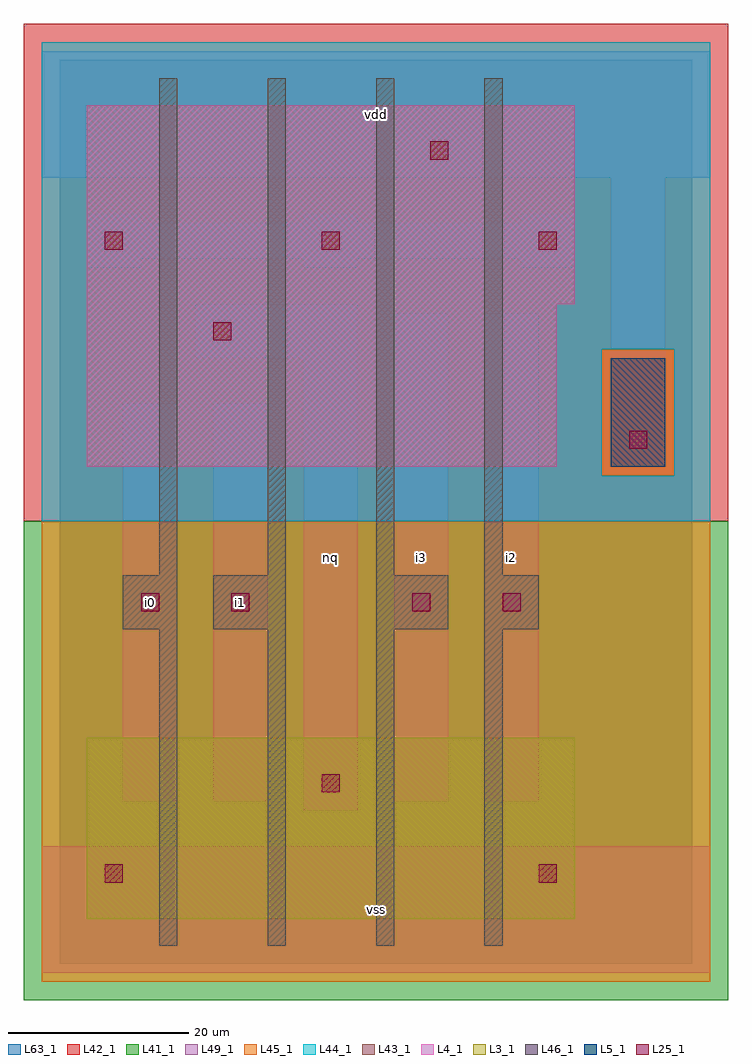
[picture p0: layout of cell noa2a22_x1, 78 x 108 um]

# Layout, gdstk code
import gdstk
lib = gdstk.Library(unit=1e-6, precision=1e-09)
def R(c, l, rs):  # rectangles x0, y0, x1, y1
    for r in rs: c.add(gdstk.rectangle(r[:2], r[2:], *l))
def A(c, l, x, y, w, h, nx, ny, dx, dy):  # array of equal rectangles
    R(c, l, [(x+i*dx, y+j*dy, x+i*dx+w, y+j*dy+h) for i in range(nx) for j in range(ny)])
L3_1 = (3, 1)
L4_1 = (4, 1)
L5_1 = (5, 1)
L25_1 = (25, 1)
L41_1 = (41, 1)
L42_1 = (42, 1)
L43_1 = (43, 1)
L44_1 = (44, 1)
L45_1 = (45, 1)
L46_1 = (46, 1)
L49_1 = (49, 1)
L63_1 = (63, 1)

noa2a22_x1 = lib.new_cell('noa2a22_x1')
R(noa2a22_x1, L3_1, [(3,5,57,25)])
R(noa2a22_x1, L4_1, [(3,55,55,73), (3,73,57,95)])
R(noa2a22_x1, L5_1, [(61,55,67,67)])
A(noa2a22_x1, L25_1, 5, 79, 2, 2, 3, 1, 24, 0)
R(noa2a22_x1, L25_1, [(5,9,7,11), (53,9,55,11), (29,19,31,21), (9,39,11,41), (19,39,21,41), (39,39,41,41), (49,39,51,41), (63,57,65,59), (17,69,19,71), (41,89,43,91)])
R(noa2a22_x1, L41_1, [(-4,-4,74,49)])
R(noa2a22_x1, L42_1, [(-4,49,74,104)])
R(noa2a22_x1, L43_1, [(3,5,57,25), (3,55,55,73), (61,55,67,67), (3,73,57,95)])
R(noa2a22_x1, L44_1, [(-2,49,72,54), (-2,54,60,68), (68,54,72,68), (-2,68,72,102)])
R(noa2a22_x1, L45_1, [(-2,-2,72,49), (60,54,68,68)])
A(noa2a22_x1, L46_1, 11, 2, 2, 35, 4, 1, 12, 0)
A(noa2a22_x1, L46_1, 11, 43, 2, 55, 4, 1, 12, 0)
R(noa2a22_x1, L46_1, [(7,37,13,43), (17,37,25,43), (35,37,43,43), (47,37,53,43)])
A(noa2a22_x1, L49_1, 3, 77, 6, 1, 3, 2, 24, 5)
R(noa2a22_x1, L49_1, [(-2,-1,72,13), (27,17,33,67), (7,18,13,62), (17,18,23,62), (37,18,43,72), (47,18,53,72), (61,55,67,87), (15,67,33,73), (3,78,57,82), (-2,87,72,101)])
R(noa2a22_x1, L63_1, [(0,0,70,100)])
noa2a22_x1.add(gdstk.Label('i0', (10,40), layer=49, texttype=1))
noa2a22_x1.add(gdstk.Label('i0', (10,40), layer=49, texttype=1))
noa2a22_x1.add(gdstk.Label('nq', (30,45), layer=49, texttype=1))
noa2a22_x1.add(gdstk.Label('i1', (20,40), layer=49, texttype=1))
noa2a22_x1.add(gdstk.Label('nq', (30,45), layer=49, texttype=1))
noa2a22_x1.add(gdstk.Label('i1', (20,40), layer=49, texttype=1))
noa2a22_x1.add(gdstk.Label('vss', (35,6), layer=49, texttype=1))
noa2a22_x1.add(gdstk.Label('vss', (35,6), layer=49, texttype=1))
noa2a22_x1.add(gdstk.Label('i2', (50,45), layer=49, texttype=1))
noa2a22_x1.add(gdstk.Label('i3', (40,45), layer=49, texttype=1))
noa2a22_x1.add(gdstk.Label('i2', (50,45), layer=49, texttype=1))
noa2a22_x1.add(gdstk.Label('i3', (40,45), layer=49, texttype=1))
noa2a22_x1.add(gdstk.Label('vdd', (35,94), layer=49, texttype=1))
noa2a22_x1.add(gdstk.Label('vdd', (35,94), layer=49, texttype=1))

lib.write_gds('noa2a22_x1.gds')
